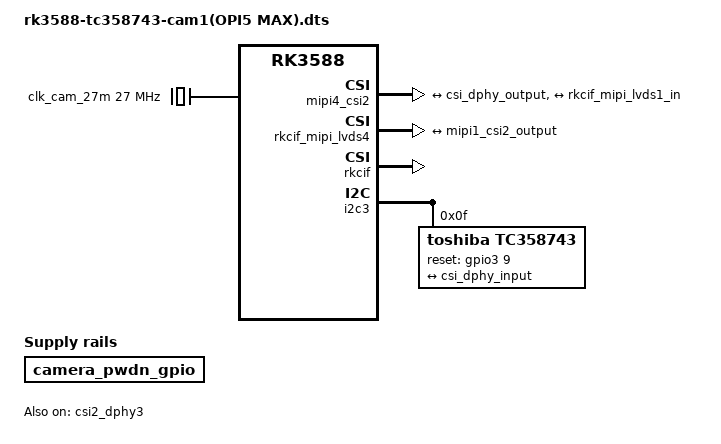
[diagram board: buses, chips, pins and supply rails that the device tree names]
/dts-v1/;
/plugin/;

/ {
    compatible = "rockchip,rk3588-orangepi-5-max\0rockchip,rk3588";

    fragment@0 {
        target = <&csi2_dphy3>;
        __overlay__ {
            status = "okay";
            ports {
                #address-cells = <1>;
                #size-cells = <0>;

                port@0 {
                    reg = <0>;
                    csi_dphy_input: endpoint {
                        remote-endpoint = <&tc358743_out>;
                        data-lanes = <1 2 3 4>;
                    };
                };

                port@1 {
                    reg = <1>;
                    csi_dphy_output: endpoint {
                        remote-endpoint = <&mipi1_csi2_input>;
                        data-lanes = <1 2 3 4>;
                    };
                };
                
            };
        };
    };

    fragment@1 {
        target = <&mipi4_csi2>;
        __overlay__ {
            status = "okay";
            ports {
                #address-cells = <1>;
                #size-cells = <0>;

                port@0 {
                    reg = <0>;
                    mipi1_csi2_input: endpoint {
                        remote-endpoint = <&csi_dphy_output>;
                        data-lanes = <1 2 3 4>;
                    };
                };

                port@1 {
                    reg = <1>;
                    mipi1_csi2_output: endpoint {
                        remote-endpoint = <&rkcif_mipi_lvds1_in>;
                        data-lanes = <1 2 3 4>;
                    };
                };
            };
        };
    };

    fragment@2 {
        target = <&rkcif_mipi_lvds4>;
        __overlay__ {
            status = "okay";
            port {
                rkcif_mipi_lvds1_in: endpoint {
                    remote-endpoint = <&mipi1_csi2_output>;
                    data-lanes = <1 2 3 4>;
                };
            };
        };
    };

    fragment@3 {
        target = <&rkcif>;
        __overlay__ {
            status = "okay";
        };
    };

    fragment@4 {
        target = <&rkcif_mmu>;
        __overlay__ {
            status = "okay";
        };
    };

    fragment@5 {
        target = <&i2c3>;
        __overlay__ {
            status = "okay";
            pinctrl-names = "default";
			pinctrl-0 = <&i2c3m0_xfer>;            
            #address-cells = <1>;
            #size-cells = <0>;

            tc358743@f {
                compatible = "toshiba,tc358743";
                reg = <0x0f>;
                status = "okay";
                clocks = <&clk_cam_27m>;
                clock-names = "refclk";
                reset-gpios = <&gpio3 9 0>;
                // pwdn-gpios = <&gpio3 22 1>;
                rockchip,camera-module-index = <0>;
                rockchip,camera-module-facing = "back";
                rockchip,camera-module-name = "TC358743";
                rockchip,camera-module-lens-name = "NC";

                port {
                    #address-cells = <1>;
                    #size-cells = <0>;
                    tc358743_out: endpoint@0 {
                        reg = <0>;
                        remote-endpoint = <&csi_dphy_input>;
                        clock-lanes = <0>;
                        clock-noncontinuous;
                        link-frequencies = /bits/ 64 <297000000>;
                        data-lanes = <1 2 3 4>;
                    };
                };
            };
        };
    };


	fragment@6 {
		target-path = "/";

		__overlay__ {
			clk_cam_27m: external-camera-clock-27m {
				status = "okay";
				compatible = "fixed-clock";
				clock-frequency = <27000000>;
				clock-output-names = "clk_cam_27mhz";
				#clock-cells = <0>;
			};

			camera_pwdn_gpio: camera-pwdn-gpio {
				status = "okay";
				compatible = "regulator-fixed";
				regulator-name = "camera_pwdn_gpio";
				regulator-always-on;
				regulator-boot-on;
				enable-active-high;
			};
		};
	};


    __fixups__ {
        csi2_dphy3 = "/fragment@0:target:0";
        mipi4_csi2 = "/fragment@1:target:0";
        rkcif_mipi_lvds4 = "/fragment@2:target:0";
        rkcif = "/fragment@3:target:0";
        rkcif_mmu = "/fragment@4:target:0";
        i2c3 = "/fragment@5:target:0";
    };
};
